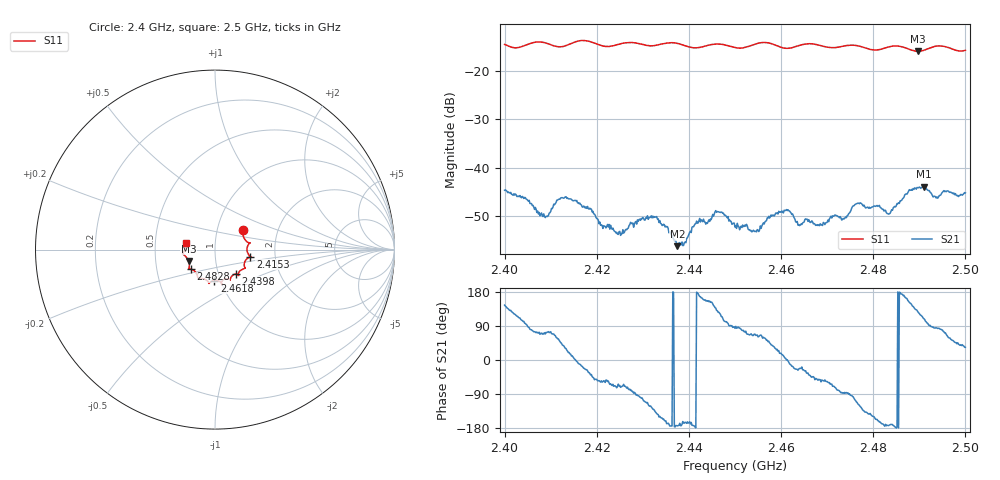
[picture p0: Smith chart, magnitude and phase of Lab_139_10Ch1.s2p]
# Hz S RI R 50
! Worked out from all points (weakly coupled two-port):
!   601 points, 2.4 GHz to 2.5 GHz, reference 50 ohm
!   highest |S21| = -43.97 dB at 2.491 GHz (marker M1); lowest = -56.3 dB at 2.4375 GHz (marker M2)
!   lowest |S11| = -15.9 dB at 2.4897 GHz (marker M3), VSWR 1.38, Z = 36.9 - j4.82 ohm
!   |S11| at or under -10 dB: start of sweep to end of sweep
!   S12 and S22 are empty: the file has one direction only
!   S11 on the Smith chart (normalised r, x): 2.4 GHz: 1.33, +0.30; 2.4153 GHz: 1.48, -0.12; 2.4398 GHz: 1.21, -0.34; 2.4618 GHz: 0.94, -0.33; 2.4828 GHz: 0.74, -0.17; 2.5 GHz: 0.72, +0.06
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2.4e9  0.1552 0.1071  -0.00476 0.00336  0 0  0 0
2.408833e9  0.1925 0.0352  0.0011 0.00283  0 0  0 0
2.411833e9  0.178 0.0027  0.0029 0.00371  0 0  0 0
2.415333e9  0.1964 -0.0389  0.00458 7.4e-05  0 0  0 0
2.416667e9  0.2026 -0.0428  0.00396 -0.00112  0 0  0 0
2.425e9  0.1647 -0.0964  0.000838 -0.00202  0 0  0 0
2.433333e9  0.1306 -0.1336  -0.00239 -0.00172  0 0  0 0
2.4375e9  0.131 -0.1421  -0.00153 -0.00017  0 0  0 0
2.439833e9  0.1155 -0.1359  -0.00189 -0.000449  0 0  0 0
2.446167e9  0.0851 -0.1703  -0.00226 0.00269  0 0  0 0
2.45e9  0.0654 -0.1626  0.00027 0.00241  0 0  0 0
2.454667e9  0.0356 -0.1889  0.000913 0.00196  0 0  0 0
2.461833e9  -0.0029 -0.1725  0.0035 -0.000616  0 0  0 0
2.466667e9  -0.0344 -0.1881  0.00197 -0.00201  0 0  0 0
2.473667e9  -0.0858 -0.1603  0.000112 -0.00294  0 0  0 0
2.476833e9  -0.0959 -0.1544  -0.00199 -0.00378  0 0  0 0
2.482833e9  -0.1363 -0.1092  -0.0034 -0.000386  0 0  0 0
2.483333e9  -0.1402 -0.1089  -0.00327 -0.000386  0 0  0 0
2.489667e9  -0.1469 -0.0636  -0.00378 0.00491  0 0  0 0
2.491e9  -0.1578 -0.0452  -0.00203 0.006  0 0  0 0
2.4935e9  -0.1788 -0.0246  0.000468 0.00496  0 0  0 0
2.5e9  -0.1592 0.0389  0.00458 0.003  0 0  0 0
